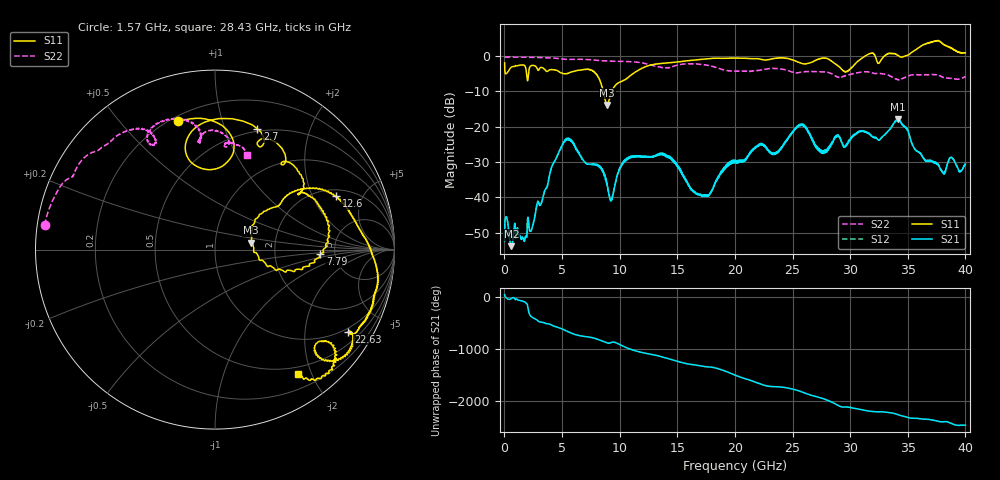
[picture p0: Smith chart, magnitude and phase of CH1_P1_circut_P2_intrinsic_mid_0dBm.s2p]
!Keysight Technologies,N5222B,MY61257109,A.17.25.03
!Date: Wednesday, July 22, 2026 17:35:06
!Correction: S11(C  2-Port  )
!S21(C  2-Port  )
!S12(C  2-Port  )
!S22(C  2-Port  )
!S2P File: Measurements: S11, S21, S12, S22:
# Hz S  dB  R 50
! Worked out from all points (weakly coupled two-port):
!   4000 points, 10 MHz to 40 GHz, reference 50 ohm
!   highest |S21| = -17.93 dB at 34.15 GHz (marker M1); lowest = -53.8 dB at 600 MHz (marker M2)
!   lowest |S11| = -13.9 dB at 8.91 GHz (marker M3), VSWR 1.51, Z = 74.5 + j6.02 ohm
!   |S11| at or under -10 dB: 8.564 GHz to 9.323 GHz (759 MHz wide, 8.49 % of centre)
!   |S22| runs from -6.8 to -0.3 dB; largest |S21 - S12| = 0.0055
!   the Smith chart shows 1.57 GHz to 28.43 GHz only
!   S11 on the Smith chart (normalised r, x): 1.57 GHz: 0.23, +0.73; 2.7 GHz: 0.47, +1.30; 7.79 GHz: 3.83, -0.30; 12.6 GHz: 2.34, +3.06; 22.63 GHz: 0.87, -3.32; 28.43 GHz: 0.40, -1.80
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1e7  -1.98 -53.1  -52.23 50.1  -51.31 51.9  -0.33 180.0
2.3e8  -4.81 -174.5  -46.05 -27.1  -46.14 -27.5  -0.33 178.8
6e8  -3.18 161.3  -53.75 -25.0  -53.74 -24.5  -0.33 176.8
1.57e9  -2.58 106.1  -51.30 -78.5  -51.30 -78.8  -0.36 171.8
2.7e9  -2.93 70.7  -44.18 -63.1  -44.24 -62.5  -0.44 165.8
5.22e9  -5.07 33.5  -24.04 84.7  -24.04 84.7  -0.97 153.2
6.68e9  -3.99 21.2  -28.81 -29.8  -28.69 -30.5  -0.96 147.4
7.79e9  -4.61 -2.5  -30.72 -72.7  -30.65 -72.3  -1.21 141.4
8.91e9  -13.87 11.0  -36.04 -164.0  -36.78 -162.0  -1.44 137.3
1.26e10  -2.65 23.8  -28.46 -18.7  -28.65 -19.2  -2.52 119.2
1.334e10  -2.21 17.0  -27.73 -51.9  -28.06 -53.1  -3.06 118.5
1.722e10  -0.93 -5.0  -39.37 107.1  -39.67 107.9  -2.50 105.0
2.001e10  -0.64 -20.9  -30.17 -65.6  -29.63 -63.3  -4.35 98.3
2.263e10  -1.19 -31.6  -25.80 93.9  -25.41 97.1  -3.79 96.3
2.667e10  -1.79 -39.0  -23.11 -96.1  -23.58 -96.7  -4.41 81.4
2.843e10  -1.61 -56.3  -24.91 130.3  -24.43 133.0  -5.11 71.3
3.012e10  -3.30 -34.3  -23.21 26.6  -22.84 27.7  -5.13 78.6
3.334e10  0.65 -48.7  -21.11 -64.3  -21.11 -64.2  -5.48 60.4
3.415e10  0.17 -58.1  -17.93 -106.0  -18.16 -106.3  -6.65 63.3
3.615e10  2.75 -55.2  -27.78 172.1  -27.80 172.5  -5.37 61.3
3.76e10  4.23 -81.7  -30.66 128.4  -30.56 127.9  -5.36 53.7
4e10  0.87 -100.2  -30.49 48.4  -30.52 48.3  -5.85 58.5
